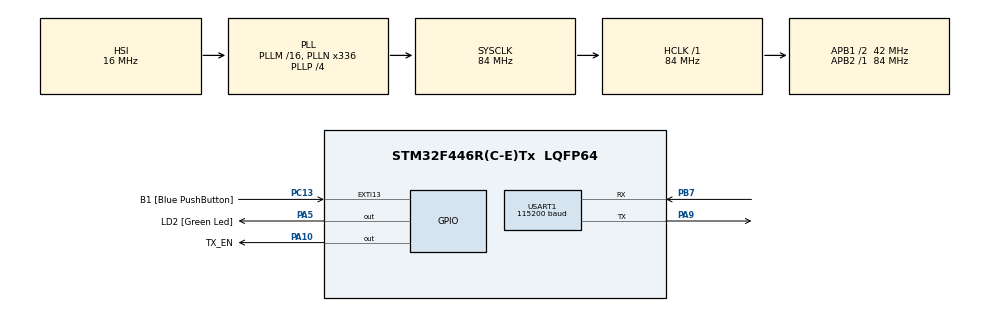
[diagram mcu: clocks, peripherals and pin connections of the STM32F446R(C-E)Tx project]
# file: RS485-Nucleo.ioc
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Mcu.Family=STM32F4
Mcu.Name=STM32F446R(C-E)Tx
Mcu.Package=LQFP64
NVIC.PriorityGroup=NVIC_PRIORITYGROUP_0
NVIC.USART1_IRQn=true\:0\:0\:false\:false\:true\:true\:true\:true
PA10.GPIO_Label=TX_EN
PA10.Signal=GPIO_Output
PA13.GPIO_Label=TMS
PA13.Mode=Serial_Wire
PA13.Signal=SYS_JTMS-SWDIO
PA14.GPIO_Label=TCK
PA14.Mode=Serial_Wire
PA14.Signal=SYS_JTCK-SWCLK
PA5.GPIO_Label=LD2 [Green Led]
PA5.Signal=GPIO_Output
PA9.Mode=Asynchronous
PA9.Signal=USART1_TX
PB3.GPIO_Label=SWO
PB3.Signal=SYS_JTDO-SWO
PB7.Mode=Asynchronous
PB7.Signal=USART1_RX
PC13.GPIO_Label=B1 [Blue PushButton]
PC13.GPIO_ModeDefaultEXTI=GPIO_MODE_IT_FALLING
PC13.Signal=GPXTI13
PC14-OSC32_IN.Mode=LSE-External-Oscillator
PC14-OSC32_IN.Signal=RCC_OSC32_IN
PC15-OSC32_OUT.Mode=LSE-External-Oscillator
PC15-OSC32_OUT.Signal=RCC_OSC32_OUT
PH0-OSC_IN.Mode=HSE-External-Oscillator
PH0-OSC_IN.Signal=RCC_OSC_IN
PH1-OSC_OUT.Mode=HSE-External-Oscillator
PH1-OSC_OUT.Signal=RCC_OSC_OUT
ProjectManager.HeapSize=0x200
ProjectManager.StackSize=0x400
ProjectManager.TargetToolchain=STM32CubeIDE
RCC.48MHZClocksFreq_Value=84000000
RCC.AHBFreq_Value=84000000
RCC.APB1CLKDivider=RCC_HCLK_DIV2
RCC.APB1Freq_Value=42000000
RCC.APB1TimFreq_Value=84000000
RCC.APB2Freq_Value=84000000
RCC.APB2TimCLKDivider=1
RCC.APB2TimFreq_Value=84000000
RCC.CortexFreq_Value=84000000
RCC.FLatency-AdvancedSettings=FLASH_LATENCY_2
RCC.HCLKFreq_Value=84000000
RCC.HSE_VALUE=8000000
RCC.HSI_VALUE=16000000
RCC.PLLN=336
RCC.PLLP=RCC_PLLP_DIV4
RCC.SYSCLKFreq_VALUE=84000000
RCC.SYSCLKSource=RCC_SYSCLKSOURCE_PLLCLK
RCC.USBFreq_Value=168000000
RCC.VCOOutputFreq_Value=336000000
USART1.BaudRate=115200
USART1.VirtualMode=VM_ASYNC
board=NUCLEO-F446RE

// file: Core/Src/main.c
/* USER CODE BEGIN Header */
/**
  ******************************************************************************
  * @file           : main.c
  * @brief          : Main program body
  ******************************************************************************
  * @attention
  *
  * Copyright (c) 2025 STMicroelectronics.
  * All rights reserved.
  *
  * This software is licensed under terms that can be found in the LICENSE file
  * in the root directory of this software component.
  * If no LICENSE file comes with this software, it is provided AS-IS.
  *
  ******************************************************************************
  */
/* USER CODE END Header */
#include "main.h"

/* USER CODE BEGIN Includes */
#include <stdio.h>
#include <string.h>
#include <stdbool.h>
#include <stdint.h>
#include <math.h>
#include <stdlib.h>
/* USER CODE END Includes */

UART_HandleTypeDef huart1;

void SystemClock_Config(void);
static void MX_GPIO_Init(void);
static void MX_USART1_UART_Init(void);

/* USER CODE BEGIN 0 */
uint8_t TxData[16];
uint8_t RxData[16];
int indx = 0;
void sendData (uint8_t *data)
{
	// Pull DE high to enable TX operation
	HAL_GPIO_WritePin(TX_EN_GPIO_Port, TX_EN_Pin, GPIO_PIN_SET);
	HAL_UART_Transmit(&huart1, data, strlen (data) , 1000);
	// Pull RE Low to enable RX operation
	HAL_GPIO_WritePin(TX_EN_GPIO_Port, TX_EN_Pin, GPIO_PIN_RESET);
}

void processReceivedData(uint8_t *data, uint16_t len)
{
  // Example: print to console or toggle LED
  HAL_GPIO_TogglePin(GPIOA, LD2_Pin);  // Toggle LED when data received

  // Optionally echo back
  sendData(data);  // Echo the received data
}
void HAL_UARTEx_RxEventCallback(UART_HandleTypeDef *huart, uint16_t Size)
{
  if (huart->Instance == USART1) {
    RxData[Size] = '\0';  // Null-terminate just in case
    processReceivedData(RxData, Size);  // Call our handler
    HAL_UARTEx_ReceiveToIdle_IT(&huart1, RxData, 16);  // Restart reception
  }
}

/* USER CODE END 0 */

int main(void)
{

  /* MCU Configuration--------------------------------------------------------*/

  /* Reset of all peripherals, Initializes the Flash interface and the Systick. */
  HAL_Init();

  /* Configure the system clock */
  SystemClock_Config();

  /* Initialize all configured peripherals */
  MX_GPIO_Init();
  MX_USART1_UART_Init();
  /* USER CODE BEGIN 2 */
  /* Start circular RX DMA */

  /* USER CODE END 2 */

  /* Infinite loop */
  while (1)
  {

    /* USER CODE BEGIN 3 */
//	sprintf(TxData, "F103 %d", indx++);
//	sendData (TxData);
//	HAL_Delay(1000);
	if (RxData[0] != 0) {
		printf("Received: %s\r\n", RxData);
		memset(RxData, 0, sizeof(RxData));  // Clear after reading
	}

  }
  /* USER CODE END 3 */
}

void SystemClock_Config(void)
{
  RCC_OscInitTypeDef RCC_OscInitStruct = {0};
  RCC_ClkInitTypeDef RCC_ClkInitStruct = {0};

  /** Configure the main internal regulator output voltage
  */
  __HAL_RCC_PWR_CLK_ENABLE();
  __HAL_PWR_VOLTAGESCALING_CONFIG(PWR_REGULATOR_VOLTAGE_SCALE3);

  /** Initializes the RCC Oscillators according to the specified parameters
  * in the RCC_OscInitTypeDef structure.
  */
  RCC_OscInitStruct.OscillatorType = RCC_OSCILLATORTYPE_HSI;
  RCC_OscInitStruct.HSIState = RCC_HSI_ON;
  RCC_OscInitStruct.HSICalibrationValue = RCC_HSICALIBRATION_DEFAULT;
  RCC_OscInitStruct.PLL.PLLState = RCC_PLL_ON;
  RCC_OscInitStruct.PLL.PLLSource = RCC_PLLSOURCE_HSI;
  RCC_OscInitStruct.PLL.PLLM = 16;
  RCC_OscInitStruct.PLL.PLLN = 336;
  RCC_OscInitStruct.PLL.PLLP = RCC_PLLP_DIV4;
  RCC_OscInitStruct.PLL.PLLQ = 2;
  RCC_OscInitStruct.PLL.PLLR = 2;
  if (HAL_RCC_OscConfig(&RCC_OscInitStruct) != HAL_OK)
  {
    Error_Handler();
  }

  /** Initializes the CPU, AHB and APB buses clocks
  */
  RCC_ClkInitStruct.ClockType = RCC_CLOCKTYPE_HCLK|RCC_CLOCKTYPE_SYSCLK
                              |RCC_CLOCKTYPE_PCLK1|RCC_CLOCKTYPE_PCLK2;
  RCC_ClkInitStruct.SYSCLKSource = RCC_SYSCLKSOURCE_PLLCLK;
  RCC_ClkInitStruct.AHBCLKDivider = RCC_SYSCLK_DIV1;
  RCC_ClkInitStruct.APB1CLKDivider = RCC_HCLK_DIV2;
  RCC_ClkInitStruct.APB2CLKDivider = RCC_HCLK_DIV1;

  if (HAL_RCC_ClockConfig(&RCC_ClkInitStruct, FLASH_LATENCY_2) != HAL_OK)
  {
    Error_Handler();
  }
}

static void MX_USART1_UART_Init(void)
{

  huart1.Instance = USART1;
  huart1.Init.BaudRate = 115200;
  huart1.Init.WordLength = UART_WORDLENGTH_8B;
  huart1.Init.StopBits = UART_STOPBITS_1;
  huart1.Init.Parity = UART_PARITY_NONE;
  huart1.Init.Mode = UART_MODE_TX_RX;
  huart1.Init.HwFlowCtl = UART_HWCONTROL_NONE;
  huart1.Init.OverSampling = UART_OVERSAMPLING_16;
  if (HAL_UART_Init(&huart1) != HAL_OK)
  {
    Error_Handler();
  }

}

static void MX_GPIO_Init(void)
{
  GPIO_InitTypeDef GPIO_InitStruct = {0};

  /* GPIO Ports Clock Enable */
  __HAL_RCC_GPIOC_CLK_ENABLE();
  __HAL_RCC_GPIOH_CLK_ENABLE();
  __HAL_RCC_GPIOA_CLK_ENABLE();
  __HAL_RCC_GPIOB_CLK_ENABLE();

  /*Configure GPIO pin Output Level */
  HAL_GPIO_WritePin(GPIOA, LD2_Pin|TX_EN_Pin, GPIO_PIN_RESET);

  /*Configure GPIO pin : B1_Pin */
  GPIO_InitStruct.Pin = B1_Pin;
  GPIO_InitStruct.Mode = GPIO_MODE_IT_FALLING;
  GPIO_InitStruct.Pull = GPIO_NOPULL;
  HAL_GPIO_Init(B1_GPIO_Port, &GPIO_InitStruct);

  /*Configure GPIO pins : LD2_Pin TX_EN_Pin */
  GPIO_InitStruct.Pin = LD2_Pin|TX_EN_Pin;
  GPIO_InitStruct.Mode = GPIO_MODE_OUTPUT_PP;
  GPIO_InitStruct.Pull = GPIO_NOPULL;
  GPIO_InitStruct.Speed = GPIO_SPEED_FREQ_LOW;
  HAL_GPIO_Init(GPIOA, &GPIO_InitStruct);

}

void Error_Handler(void)
{
  __disable_irq();
  while (1)
  {
  }
}
